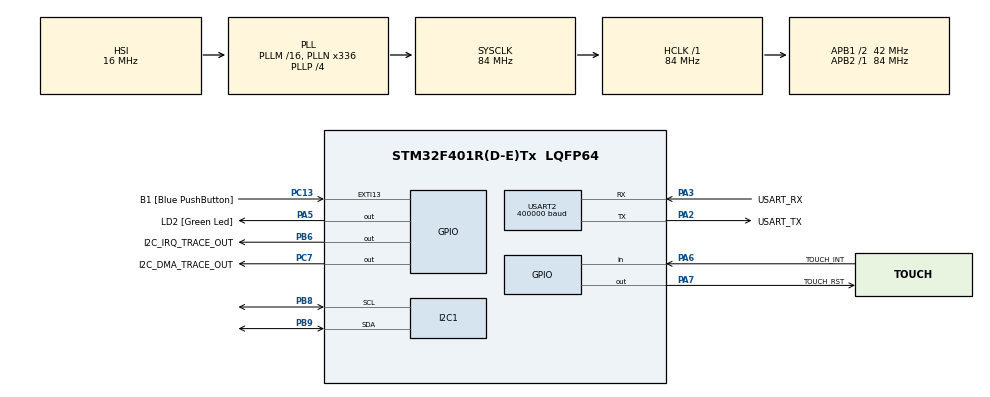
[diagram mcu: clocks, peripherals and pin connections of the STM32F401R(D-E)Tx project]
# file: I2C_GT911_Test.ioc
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Mcu.Family=STM32F4
PA2.GPIO_PuPd=GPIO_NOPULL
RCC.CortexFreq_Value=84000000
NVIC.I2C1_EV_IRQn=true\:0\:0\:false\:false\:true\:true\:true
PA14.GPIO_Label=TCK
PA3.GPIO_PuPd=GPIO_NOPULL
PA2.GPIO_Speed=GPIO_SPEED_FREQ_LOW
PA6.GPIO_Label=TOUCH_INT
PB6.GPIO_Label=I2C_IRQ_TRACE_OUT
PA3.GPIO_Speed=GPIO_SPEED_FREQ_LOW
RCC.SYSCLKSource=RCC_SYSCLKSOURCE_PLLCLK
ProjectManager.StackSize=0x400
PH0\ -\ OSC_IN.Signal=RCC_OSC_IN
RCC.HCLKFreq_Value=84000000
I2C1.DutyCycle=I2C_DUTYCYCLE_16_9
RCC.APB2TimFreq_Value=84000000
PB6.Signal=GPIO_Output
PC7.Signal=GPIO_Output
RCC.AHBFreq_Value=84000000
RCC.HSE_VALUE=8000000
PC13-ANTI_TAMP.Signal=GPXTI13
PC14-OSC32_IN.Mode=LSE-External-Oscillator
PA14.Mode=Serial_Wire
PA5.GPIO_PuPd=GPIO_NOPULL
Mcu.Package=LQFP64
PB9.Signal=I2C1_SDA
PA6.Signal=GPIO_Input
USART2.VirtualMode=VM_ASYNC
PA2.GPIO_Label=USART_TX
RCC.APB1TimFreq_Value=84000000
PA3.Signal=USART2_RX
PA2.GPIO_Mode=GPIO_MODE_AF_PP
PB3.GPIO_Label=SWO
PC15-OSC32_OUT.Mode=LSE-External-Oscillator
PC13-ANTI_TAMP.GPIO_PuPd=GPIO_NOPULL
PC13-ANTI_TAMP.GPIO_Label=B1 [Blue PushButton]
PH1\ -\ OSC_OUT.Mode=HSE-External-Clock-Source
RCC.APB1CLKDivider=RCC_HCLK_DIV2
PC14-OSC32_IN.Signal=RCC_OSC32_IN
USART2.BaudRate=400000
PA13.Signal=SYS_JTMS-SWDIO
PA3.Mode=Asynchronous
PH0\ -\ OSC_IN.Mode=HSE-External-Clock-Source
ProjectManager.TargetToolchain=STM32CubeIDE
I2C1.I2C_Mode=I2C_Fast
PA3.GPIO_Mode=GPIO_MODE_AF_PP
PB9.Mode=I2C
PC15-OSC32_OUT.Signal=RCC_OSC32_OUT
PA5.Signal=GPIO_Output
PH1\ -\ OSC_OUT.Signal=RCC_OSC_OUT
board=NUCLEO-F401RE
RCC.VCOOutputFreq_Value=336000000
RCC.APB2Freq_Value=84000000
PA13.Mode=Serial_Wire
Mcu.Name=STM32F401R(D-E)Tx
PA13.GPIO_Label=TMS
PA2.Signal=USART2_TX
PC7.GPIO_Label=I2C_DMA_TRACE_OUT
RCC.48MHZClocksFreq_Value=48000000
PB3.Signal=SYS_JTDO-SWO
RCC.SYSCLKFreq_VALUE=84000000
PA7.GPIO_Label=TOUCH_RST
PA5.GPIO_Label=LD2 [Green Led]
PC13-ANTI_TAMP.GPIO_ModeDefaultEXTI=GPIO_MODE_IT_FALLING
PA14.Signal=SYS_JTCK-SWCLK
ProjectManager.HeapSize=0x200
RCC.HSI_VALUE=16000000
RCC.PLLP=RCC_PLLP_DIV4
PA5.GPIO_Speed=GPIO_SPEED_FREQ_LOW
RCC.PLLQ=7
NVIC.PriorityGroup=NVIC_PRIORITYGROUP_0
PB8.Mode=I2C
RCC.PLLN=336
PA2.Mode=Asynchronous
PB8.Signal=I2C1_SCL
RCC.APB1Freq_Value=42000000
PA5.GPIO_Mode=GPIO_MODE_OUTPUT_PP
PA3.GPIO_Label=USART_RX
PA7.Signal=GPIO_Output

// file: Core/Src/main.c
/* USER CODE BEGIN Header */
/**
  ******************************************************************************
  * @file           : main.c
  * @brief          : Main program body
  ******************************************************************************
  * @attention
  *
  * <h2><center>&copy; Copyright (c) 2021 STMicroelectronics.
  * All rights reserved.</center></h2>
  *
  * This software component is licensed by ST under BSD 3-Clause license,
  * the "License"; You may not use this file except in compliance with the
  * License. You may obtain a copy of the License at:
  *                        opensource.org/licenses/BSD-3-Clause
  *
  ******************************************************************************
  */
/* USER CODE END Header */
#include "main.h"

/* USER CODE BEGIN PTD */
typedef struct {
	uint8_t track ;
	uint16_t x ;
	uint16_t y ;
	uint16_t size ;
	uint8_t reserved ;
} TouchPoint;
/* USER CODE END PTD */

/* USER CODE BEGIN PD */
#define GT911_I2C_ADDR					0x14
#define GT911_MAX_TP					5
#define GT911_CFG_NUMER					0x6C
#define GT911_TIMEOUT					3 // 3ms

#define GT_CTRL_REG 					0x8040
#define GT_CFGS_REG 					0x8047
#define GT_CHECK_REG 					0x80FF
#define GT_PID_REG 						0x8140

#define GT_GSTID_REG 					0x814E
#define GT_TP1_REG 						0x8150
#define GT_TP2_REG 						0x8158
#define GT_TP3_REG 						0x8160
#define GT_TP4_REG 						0x8168
#define GT_TP5_REG 						0x8170

#define GT911_READ_XY_REG               0x814E
#define GT911_CLEARBUF_REG              0x814E
#define GT911_CONFIG_REG                0x8047
#define GT911_COMMAND_REG               0x8040
#define GT911_PRODUCT_ID_REG            0x8140
#define GT911_VENDOR_ID_REG             0x814A
#define GT911_CONFIG_VERSION_REG        0x8047
#define GT911_CONFIG_CHECKSUM_REG       0x80FF
#define GT911_FIRMWARE_VERSION_REG      0x8144

#define TPRST_LOW()   HAL_GPIO_WritePin(TOUCH_RST_GPIO_Port, TOUCH_RST_Pin, GPIO_PIN_RESET)
#define TPRST_HIGH()  HAL_GPIO_WritePin(TOUCH_RST_GPIO_Port, TOUCH_RST_Pin, GPIO_PIN_SET)

#define TPINT_LOW()   HAL_GPIO_WritePin(TOUCH_INT_GPIO_Port, TOUCH_INT_Pin, GPIO_PIN_RESET)
#define TPINT_HIGH()  HAL_GPIO_WritePin(TOUCH_INT_GPIO_Port, TOUCH_INT_Pin, GPIO_PIN_SET)

//GT911 param table
const uint8_t TOUCH_GT911_Cfg[] =
{
	GT911_CFG_NUMER,// 0x8047 Config version
	0xE0,			// 0x8048 X output map : x 480
	0x01,
	0x10,			// 0x804A Y ouptut max : y 272
	0x01,
	GT911_MAX_TP,	// 0x804C Touch number
	0x3C,			// 0x804D Module switch 1 : bit4= xy change Int mode
	0x20,			// 0x804E Module switch 2
	0x22,			// 0x804F Shake_Count
	0x0A,			// 0x8050 Filter
	0x28,			// 0x8051 Larger touch
	0x0F,			// 0x8052 Noise reduction
	0x5A,			// 0x8053 Screen touch level
	0x3C,			// 0x8054 Screen touch leave
	0x03,			// 0x8055 Low power control
	0x0F,			// 0x8056 Refresh rate
	0x01,			// 0x8057 X threshold
	0x01,			// 0x8058 Y threshold
	0x00,			// 0x8059 Reserved
	0x00,			// 0x805A Reserved
	0x11,			// 0x805B Space (top, bottom)
	0x11,			// 0x805C Space (left, right)
	0x08,			// 0x805D Mini filter
	0x18,			// 0x805E Strech R0
	0x1A,			// 0x805F Strech R1
	0x1E,			// 0x8060 Strech R2
	0x14,			// 0x8061 Strech RM
	0x87,			// 0x8062 Drv groupA num
	0x29,			// 0x8063 Drv groupB num
	0x0A,			// 0x8064 Sensor num
	0xCF,			// 0x8065 FreqA factor
	0xD1,			// 0x8066 FreqB factor
	0xB2,			// 0x8067 Panel bit freq
	0x04,
	0x00,			// 0x8069 Reserved
	0x00,
	0x00,			// 0x806B Panel tx gain
	0xD8,			// 0x806C Panel rx gain
	0x02,			// 0x806D Panel dump shift
	0x1D,			// 0x806E Drv frame control
	0x00,			// 0x806F Charging level up
	0x01,			// 0x8070 Module switch 3
	0x00,			// 0x8071 Gesture distance
	0x00,			// 0x8072 Gesture long press time
	0x00,			// 0x8073 X/Y slope adjust
	0x00,			// 0x8074 Gesture control
	0x00,			// 0x8075 Gesture switch 1
	0x00,			// 0x8076 Gesture switch 2
	0x00,			// 0x8077 Gesture refresh rate
	0x00,			// 0x8078 Gesture touch level
	0x00,			// 0x8079 New green wake up level
	0xB4,			// 0x807A Freq hopping start
	0xEF,			// 0x807B Freq hopping end
	0x94,			// 0x807C Noise detect time
	0xD5,			// 0x807D Hopping flag
	0x02,			// 0x807E Hopping flag
	0x07,			// 0x807F Noise threshold
	0x00,			// 0x8080 Nois min threshold old
	0x00,			// 0x8081 Reserved
	0x04,			// 0x8082 Hopping sensor group
	0x6E,			// 0x8083 Hopping Seg1 normalize
	0xB9,			// 0x8084 Hopping Seg1 factor
	0x00,			// 0x8085 Main clock adjust
	0x6A,			// 0x8086 Hopping Seg2 normalize
	0xC4,			// 0x8087 Hopping Seg2 factor
	0x00,			// 0x8088 Reserved
	0x66,			// 0x8089 Hopping Seg3 normalize
	0xCF,			// 0x808A Hopping Seg3 factor
	0x00,			// 0x808B Reserved
	0x62,			// 0x808C Hopping Seg4 normalize
	0xDB,			// 0x808D Hopping Seg4 factor
	0x00,			// 0x808E Reserved
	0x5E,			// 0x808F Hopping Seg5 normalize
	0xE8,			// 0x8090 Hopping Seg5 factor
	0x00,			// 0x8091 Reserved
	0x5E,			// 0x8092 Hopping Seg6 normalize
	0x00,			// 0x8093 Key1
	0x00,			// 0x8094 Key2
	0x00,			// 0x8095 Key3
	0x00,			// 0x8096 Key4
	0x00,			// 0x8097 Key area
	0x00,			// 0x8098 Key touch level
	0x00,			// 0x8099 Key leave level
	0x00,			// 0x809A Key sens
	0x00,			// 0x809B Key sens
	0x00,			// 0x809C Key restrain
	0x00,			// 0x809D Key restrain time
	0x00,			// 0x809E Large gesture touch
	0x00,			// 0x809F Reserved
	0x00,			// 0x80A0 Reserved
	0x00,			// 0x80A1 Hotknot noise map
	0x00,			// 0x80A2 Link threshold
	0x00,			// 0x80A3 Pxy threshold
	0x00,			// 0x80A4 GHot dump shift
	0x00,			// 0x80A5 GHot rx gain
	0x00,			// 0x80A6 Freg gain
	0x00,			// 0x80A7 Freg gain 1
	0x00,			// 0x80A8 Freg gain 2
	0x00,			// 0x80A9 Freg gain 3
	0x00,			// 0x80AA Reserved
	0x00,			// 0x80AB Reserved
	0x00,			// 0x80AC Reserved
	0x00,			// 0x80AD Reserved
	0x00,			// 0x80AE Reserved
	0x00,			// 0x80AF Reserved
	0x00,			// 0x80B0 Reserved
	0x00,			// 0x80B1 Reserved
	0x00,			// 0x80B2 Reserved
	0x00,			// 0x80B3 Combine dis
	0x00,			// 0x80B4 Split set
	0x00,			// 0x80B5 Reserved
	0x00,			// 0x80B6 Reserved
	0x14,			// 0x80B7 Sensor CH0
	0x12,			// 0x80B8 Sensor CH1
	0x10,			// 0x80B9 Sensor CH2
	0x0E,			// 0x80BA Sensor CH3
	0x0C,			// 0x80BB Sensor CH4
	0x0A,			// 0x80BC Sensor CH5
	0x08,			// 0x80BD Sensor CH6
	0x06,			// 0x80BE Sensor CH7
	0x04,			// 0x80BF Sensor CH8
	0x02,			// 0x80C0 Sensor CH9
	0xFF,			// 0x80C1 Sensor CH10
	0xFF,			// 0x80C2 Sensor CH11
	0xFF,			// 0x80C3 Sensor CH12
	0xFF,			// 0x80C4 Sensor CH13
	0x00,			// 0x80C5 Reserved
	0x00,			// 0x80C6 Reserved
	0x00,			// 0x80C7 Reserved
	0x00,			// 0x80C8 Reserved
	0x00,			// 0x80C9 Reserved
	0x00,			// 0x80CA Reserved
	0x00,			// 0x80CB Reserved
	0x00,			// 0x80CC Reserved
	0x00,			// 0x80CD Reserved
	0x00,			// 0x80CE Reserved
	0x00,			// 0x80CF Reserved
	0x00,			// 0x80D0 Reserved
	0x00,			// 0x80D1 Reserved
	0x00,			// 0x80D2 Reserved
	0x00,			// 0x80D3 Reserved
	0x00,			// 0x80D4 Reserved
	0x28,			// 0x80D5 Driver CH0
	0x26,			// 0x80D6 Driver CH1
	0x24,			// 0x80D7 Driver CH2
	0x22,			// 0x80D8 Driver CH3
	0x21,			// 0x80D9 Driver CH4
	0x20,			// 0x80DA Driver CH5
	0x1F,			// 0x80DB Driver CH6
	0x1E,			// 0x80DC Driver CH7
	0x1D,			// 0x80DD Driver CH8
	0x0C,			// 0x80DE Driver CH9
	0x0A,			// 0x80DF Driver CH10
	0x08,			// 0x80E0 Driver CH11
	0x06,			// 0x80E1 Driver CH12
	0x04,			// 0x80E2 Driver CH13
	0x02,			// 0x80E3 Driver CH14
	0x00,			// 0x80E4 Driver CH15
	0xFF,			// 0x80E5 Driver CH16
	0xFF,			// 0x80E6 Driver CH17
	0xFF,			// 0x80E7 Driver CH18
	0xFF,			// 0x80E8 Driver CH19
	0xFF,			// 0x80E9 Driver CH20
	0xFF,			// 0x80EA Driver CH21
	0xFF,			// 0x80EB Driver CH22
	0xFF,			// 0x80EC Driver CH23
	0xFF,			// 0x80ED Driver CH24
	0xFF,			// 0x80EE Driver CH25
	0x00,			// 0x80EF Reserved
	0x00,			// 0x80F0 Reserved
	0x00,			// 0x80F1 Reserved
	0x00,			// 0x80F2 Reserved
	0x00,			// 0x80F3 Reserved
	0x00,			// 0x80F4 Reserved
	0x00,			// 0x80F5 Reserved
	0x00,			// 0x80F6 Reserved
	0x00,			// 0x80F7 Reserved
	0x00,			// 0x80F8 Reserved
	0x00,			// 0x80F9 Reserved
	0x00,			// 0x80FA Reserved
	0x00,			// 0x80FB Reserved
	0x00,			// 0x80FC Reserved
	0x00,			// 0x80FD Reserved
	0x00			// 0x80FE Reserved
};
/* USER CODE END PD */

/* USER CODE BEGIN PM */
struct TouchData {
	union
	{
		TouchPoint points[GT911_MAX_TP] ;
		uint8_t data[GT911_MAX_TP * sizeof(TouchPoint)] ;
	};
};

enum TouchEvent
{
	TE_NONE,
	TE_DOWN,
	TE_UP,
	TE_SLIDE,
	TE_SLIDE_END
};

struct TouchState
{
	unsigned char event;
	short x;
	short y;
	short startX;
	short startY;
	short deltaX;
	short deltaY;
	short lastDeltaX;
	short lastDeltaY;
};

/* USER CODE END PM */

I2C_HandleTypeDef hi2c1;

UART_HandleTypeDef huart2;

/* USER CODE BEGIN PV */
uint16_t touchGT911fwver = 0;
uint16_t touchGT911hiccups = 0;
struct TouchData touchData;
struct TouchState touchState;
const uint8_t SLIDE_RANGE = 6;
/* USER CODE END PV */

void SystemClock_Config(void);
static void MX_GPIO_Init(void);
static void MX_USART2_UART_Init(void);
static void MX_I2C1_Init(void);

/* USER CODE BEGIN 0 */

#define TRACE_TIME_FORMAT     "%0.2f "
#define TRACE_TIME_VALUE      ((float)HAL_GetTick())
#define CRLF "\r\n"

#define PRINTF_BUFFER_SIZE    128

void serialPrintf(const char * format, ...)
{
	va_list arglist;
	char tmp[PRINTF_BUFFER_SIZE + 1];

	snprintf(tmp, PRINTF_BUFFER_SIZE, "+%05lums: ", HAL_GetTick());
	va_start(arglist, format);
	vsnprintf(tmp + strlen(tmp), PRINTF_BUFFER_SIZE - strlen(tmp), format, arglist);
	tmp[PRINTF_BUFFER_SIZE] = '\0';
	va_end(arglist);

	const char *t = tmp;
	HAL_UART_Transmit(&huart2, (uint8_t *) t, strlen(t), 10);
}

#define debugPrintf(...) do { serialPrintf(__VA_ARGS__); } while(0)
#define TRACE(f_, ...)        debugPrintf((TRACE_TIME_FORMAT f_ CRLF), TRACE_TIME_VALUE, ##__VA_ARGS__)

void TOUCH_AF_INT_Change(void)
{
	GPIO_InitTypeDef GPIO_InitStructure;

	GPIO_InitStructure.Pin = TOUCH_INT_Pin;
	GPIO_InitStructure.Speed = GPIO_SPEED_HIGH;
	GPIO_InitStructure.Pull = GPIO_PULLUP;
	GPIO_InitStructure.Mode = GPIO_MODE_INPUT;
	HAL_GPIO_Init(TOUCH_INT_GPIO_Port, &GPIO_InitStructure);
}

static void TOUCH_AF_GPIOConfig(void)
{
	GPIO_InitTypeDef GPIO_InitStructure;
	GPIO_InitStructure.Pin = TOUCH_RST_Pin;
	GPIO_InitStructure.Mode = GPIO_MODE_OUTPUT_PP;
	GPIO_InitStructure.Speed = GPIO_SPEED_HIGH;
	GPIO_InitStructure.Pull = GPIO_NOPULL;
	HAL_GPIO_Init(TOUCH_RST_GPIO_Port, &GPIO_InitStructure);

	HAL_GPIO_WritePin(TOUCH_RST_GPIO_Port, TOUCH_RST_Pin, GPIO_PIN_RESET);

	GPIO_InitStructure.Pin = TOUCH_INT_Pin;
	GPIO_InitStructure.Mode = GPIO_MODE_OUTPUT_PP;
	GPIO_InitStructure.Speed = GPIO_SPEED_HIGH;
	GPIO_InitStructure.Pull = GPIO_NOPULL;
	HAL_GPIO_Init(TOUCH_INT_GPIO_Port, &GPIO_InitStructure);

	HAL_GPIO_WritePin(TOUCH_INT_GPIO_Port, TOUCH_INT_Pin, GPIO_PIN_RESET);
}

bool I2C_GT911_ReadRegister(uint16_t reg, uint8_t * buf, uint8_t len)
{
	uint8_t uRegAddr[2];
	uRegAddr[0] = (uint8_t)((reg & 0xFF00) >> 8);
	uRegAddr[1] = (uint8_t)(reg & 0x00FF);

	if (HAL_I2C_Master_Transmit(&hi2c1, GT911_I2C_ADDR << 1, uRegAddr, 2, 10000) != HAL_OK)
	{
		TRACE("I2C ERROR: ReadRedister write reg address failed");
		asm("bkpt 255");
		return false;
	}

	if (HAL_I2C_Master_Receive(&hi2c1, GT911_I2C_ADDR << 1, buf, len, 10000) != HAL_OK)
	{
		TRACE("I2C ERROR: ReadRedister read reg address failed");
		asm("bkpt 255");
		return false;
	}
	return true;
}

uint8_t I2C_GT911_WriteRegister(uint16_t reg, uint8_t * buf, uint8_t len)
{
	uint8_t uAddrAndBuf[258];
	uAddrAndBuf[0] = (uint8_t)((reg & 0xFF00) >> 8);
	uAddrAndBuf[1] = (uint8_t)(reg & 0x00FF);

	if (len > 0)
	{
		for (int i = 0;i < len;i++)
		{
			uAddrAndBuf[i + 2] = buf[i];
		}
	}

	if (HAL_I2C_Master_Transmit(&hi2c1, GT911_I2C_ADDR << 1, uAddrAndBuf, len + 2, 10000) != HAL_OK)
	{
		TRACE("I2C ERROR: WriteRegister failed");
		asm("bkpt 255");
		return false;
	}
	return true;
}

bool I2C_GT911_SendConfig(void)
{
	uint8_t buf[2];
	uint8_t i = 0;
	buf[0] = 0;
	buf[1] = 1;
	bool bResult = true;

	for (i = 0; i < sizeof(TOUCH_GT911_Cfg); i++)
		buf[0] += TOUCH_GT911_Cfg[i];//check sum

	buf[0] = (~buf[0]) + 1;
	if (!I2C_GT911_WriteRegister(GT_CFGS_REG, (uint8_t *) TOUCH_GT911_Cfg, sizeof(TOUCH_GT911_Cfg)))
	{
		TRACE("GT911 ERROR: write config failed");
		bResult = false;
	}

	if (!I2C_GT911_WriteRegister(GT_CHECK_REG, buf, 2)) //write checksum
		{
			TRACE("GT911 ERROR: write config checksum failed");
			bResult = false;
		}
	return bResult;
}

bool touchPanelInit(void)
{
	uint8_t tmp[4] = { 0 };

	TRACE("Touchpanel init start ...");

	TOUCH_AF_GPIOConfig(); //SET RST=OUT INT=OUT INT=LOW
	//I2C_Init();

	TPRST_LOW();
	TPINT_HIGH();
	HAL_Delay(1);

	TPRST_HIGH();
	HAL_Delay(6);

	TPINT_LOW();
	HAL_Delay(55);

	TOUCH_AF_INT_Change();  //Set INT INPUT INT=LOW

	HAL_Delay(50);

	TRACE("Reading Touch registry");
	if (!I2C_GT911_ReadRegister(GT_PID_REG, tmp, 4))
	{
		TRACE("GT911 ERROR: Product ID read failed");
	}

	if (strcmp((char *) tmp, "911") == 0)
	{
		TRACE("GT911 chip detected");
		tmp[0] = 0X02;
		if (!I2C_GT911_WriteRegister(GT_CTRL_REG, tmp, 1))
		{
			TRACE("GT911 ERROR: write to control register failed");
		}
		if (!I2C_GT911_ReadRegister(GT_CFGS_REG, tmp, 1))
		{
			TRACE("GT911 ERROR: configuration register read failed");
		}

		TRACE("Chip config Ver:%x", tmp[0]);
		if (tmp[0] <= GT911_CFG_NUMER)  //Config ver
		{
			TRACE("Sending new config %d", GT911_CFG_NUMER);
			if (!I2C_GT911_SendConfig())
			{
				TRACE("GT911 ERROR: sending configration failed");
			}
		}

		if (!I2C_GT911_ReadRegister(GT911_FIRMWARE_VERSION_REG, tmp, 2))
		{
			TRACE("GT911 ERROR: reading firmware version failed");
		}
		else
		{
			touchGT911fwver = (tmp[1] << 8) + tmp[0];
			TRACE("GT911 FW version: %u", touchGT911fwver);
		}

		HAL_Delay(10);
		tmp[0] = 0X00;
		if (!I2C_GT911_WriteRegister(GT_CTRL_REG, tmp, 1))  //end reset
		{
			TRACE("GT911 ERROR: write to control register failed");
		}
		// touchGT911Flag = true;

		//TOUCH_AF_ExtiConfig();

		return true;
	}
	TRACE("GT911 chip NOT FOUND");
	return false;
}

void touchPanelDeInit(void)
{
	//TOUCH_AF_ExtiStop();
	//touchGT911Flag = false;
	TRACE("touchPanelDeInit()");
	asm("bkpt 255");
}

void touchPanelRead()
{
	uint8_t state = 0;

	// if (!touchEventOccured)
	//   return;

	// touchEventOccured = false;

	uint32_t startReadStatus = HAL_GetTick();
	do {
		if (!I2C_GT911_ReadRegister(GT911_READ_XY_REG, &state, 1)) {
			HAL_GPIO_WritePin(LD2_GPIO_Port, LD2_Pin, GPIO_PIN_SET);
			touchGT911hiccups++;
			TRACE("GT911 I2C read XY error");
			touchPanelDeInit();
			touchPanelInit();
			return;
		}

		if (state & 0x80u) {
			// ready
			break;
		}
		HAL_Delay(1);
	} while (HAL_GetTick() - startReadStatus < GT911_TIMEOUT);

	TRACE("touch state = 0x%x", state);
	if (state & 0x80u) {
		uint8_t pointsCount = (state & 0x0Fu);

		if (pointsCount > 0 && pointsCount <= GT911_MAX_TP) {
			if (!I2C_GT911_ReadRegister(GT911_READ_XY_REG + 1, touchData.data, pointsCount * sizeof(TouchPoint)))
			{
				HAL_GPIO_WritePin(LD2_GPIO_Port, LD2_Pin, GPIO_PIN_SET);
				touchGT911hiccups++;
				TRACE("GT911 I2C data read error");
				touchPanelDeInit();
				touchPanelInit();
				return;
			}
			if (touchState.event == TE_NONE || touchState.event == TE_UP || touchState.event == TE_SLIDE_END)
			{
				touchState.event = TE_DOWN;
				touchState.startX = touchState.x = touchData.points[0].x;
				touchState.startY = touchState.y = touchData.points[0].y;
			}
			else
			{
				touchState.deltaX = touchData.points[0].x - touchState.x;
				touchState.deltaY = touchData.points[0].y - touchState.y;
				if (touchState.event == TE_SLIDE || abs(touchState.deltaX) >= SLIDE_RANGE || abs(touchState.deltaY) >= SLIDE_RANGE)
				{
					touchState.event = TE_SLIDE;
					touchState.x = touchData.points[0].x;
					touchState.y = touchData.points[0].y;
				}
			}
		}
		else
		{
			if (touchState.event == TE_SLIDE)
			{
				touchState.event = TE_SLIDE_END;
			}
			else if (touchState.event == TE_DOWN)
			{
				touchState.event = TE_UP;
			}
			else if (touchState.event != TE_SLIDE_END) {
				touchState.event = TE_NONE;
			}
		}
	}

	uint8_t zero = 0;
	if (!I2C_GT911_WriteRegister(GT911_READ_XY_REG, &zero, 1))
	{
		TRACE("GT911 ERROR: clearing XY register failed");
	}

	switch (touchState.event) {
		case TE_NONE:
			TRACE("touch event = NONE"); break;
		case TE_UP:
			TRACE("touch event = UP"); break;
		case TE_DOWN:
			TRACE("touch event = DOWN"); break;
		case TE_SLIDE_END:
			TRACE("touch event = SLIDE_END"); break;
		case TE_SLIDE:
			TRACE("touch event = SLIDE"); break;
		default:
			TRACE("touch event = UNKNOWN"); break;
	}
}

/* USER CODE END 0 */

int main(void)
{

  /* MCU Configuration--------------------------------------------------------*/

  /* Reset of all peripherals, Initializes the Flash interface and the Systick. */
  HAL_Init();

  /* Configure the system clock */
  SystemClock_Config();

  /* Initialize all configured peripherals */
  MX_GPIO_Init();
  MX_USART2_UART_Init();
  MX_I2C1_Init();
  /* USER CODE BEGIN 2 */
  if (!touchPanelInit())
  {
	  TRACE("ERROR: touchPanelInit() failed");
	  asm("bkpt 255");
  }

  /* USER CODE END 2 */

  /* Infinite loop */
  while (1)
  {

    /* USER CODE BEGIN 3 */
	if (HAL_GPIO_ReadPin(TOUCH_INT_GPIO_Port, TOUCH_INT_Pin) == GPIO_PIN_SET)
	{
		touchPanelRead();
	}
	HAL_Delay(10);

  }
  /* USER CODE END 3 */
}

void SystemClock_Config(void)
{
  RCC_OscInitTypeDef RCC_OscInitStruct = {0};
  RCC_ClkInitTypeDef RCC_ClkInitStruct = {0};

  /** Configure the main internal regulator output voltage
  */
  __HAL_RCC_PWR_CLK_ENABLE();
  __HAL_PWR_VOLTAGESCALING_CONFIG(PWR_REGULATOR_VOLTAGE_SCALE2);
  /** Initializes the RCC Oscillators according to the specified parameters
  * in the RCC_OscInitTypeDef structure.
  */
  RCC_OscInitStruct.OscillatorType = RCC_OSCILLATORTYPE_HSI;
  RCC_OscInitStruct.HSIState = RCC_HSI_ON;
  RCC_OscInitStruct.HSICalibrationValue = RCC_HSICALIBRATION_DEFAULT;
  RCC_OscInitStruct.PLL.PLLState = RCC_PLL_ON;
  RCC_OscInitStruct.PLL.PLLSource = RCC_PLLSOURCE_HSI;
  RCC_OscInitStruct.PLL.PLLM = 16;
  RCC_OscInitStruct.PLL.PLLN = 336;
  RCC_OscInitStruct.PLL.PLLP = RCC_PLLP_DIV4;
  RCC_OscInitStruct.PLL.PLLQ = 7;
  if (HAL_RCC_OscConfig(&RCC_OscInitStruct) != HAL_OK)
  {
    Error_Handler();
  }
  /** Initializes the CPU, AHB and APB buses clocks
  */
  RCC_ClkInitStruct.ClockType = RCC_CLOCKTYPE_HCLK|RCC_CLOCKTYPE_SYSCLK
                              |RCC_CLOCKTYPE_PCLK1|RCC_CLOCKTYPE_PCLK2;
  RCC_ClkInitStruct.SYSCLKSource = RCC_SYSCLKSOURCE_PLLCLK;
  RCC_ClkInitStruct.AHBCLKDivider = RCC_SYSCLK_DIV1;
  RCC_ClkInitStruct.APB1CLKDivider = RCC_HCLK_DIV2;
  RCC_ClkInitStruct.APB2CLKDivider = RCC_HCLK_DIV1;

  if (HAL_RCC_ClockConfig(&RCC_ClkInitStruct, FLASH_LATENCY_2) != HAL_OK)
  {
    Error_Handler();
  }
}

static void MX_I2C1_Init(void)
{

  hi2c1.Instance = I2C1;
  hi2c1.Init.ClockSpeed = 400000;
  hi2c1.Init.DutyCycle = I2C_DUTYCYCLE_16_9;
  hi2c1.Init.OwnAddress1 = 0;
  hi2c1.Init.AddressingMode = I2C_ADDRESSINGMODE_7BIT;
  hi2c1.Init.DualAddressMode = I2C_DUALADDRESS_DISABLE;
  hi2c1.Init.OwnAddress2 = 0;
  hi2c1.Init.GeneralCallMode = I2C_GENERALCALL_DISABLE;
  hi2c1.Init.NoStretchMode = I2C_NOSTRETCH_DISABLE;
  if (HAL_I2C_Init(&hi2c1) != HAL_OK)
  {
    Error_Handler();
  }

}

static void MX_USART2_UART_Init(void)
{

  huart2.Instance = USART2;
  huart2.Init.BaudRate = 400000;
  huart2.Init.WordLength = UART_WORDLENGTH_8B;
  huart2.Init.StopBits = UART_STOPBITS_1;
  huart2.Init.Parity = UART_PARITY_NONE;
  huart2.Init.Mode = UART_MODE_TX_RX;
  huart2.Init.HwFlowCtl = UART_HWCONTROL_NONE;
  huart2.Init.OverSampling = UART_OVERSAMPLING_16;
  if (HAL_UART_Init(&huart2) != HAL_OK)
  {
    Error_Handler();
  }

}

static void MX_GPIO_Init(void)
{
  GPIO_InitTypeDef GPIO_InitStruct = {0};

  /* GPIO Ports Clock Enable */
  __HAL_RCC_GPIOC_CLK_ENABLE();
  __HAL_RCC_GPIOH_CLK_ENABLE();
  __HAL_RCC_GPIOA_CLK_ENABLE();
  __HAL_RCC_GPIOB_CLK_ENABLE();

  /*Configure GPIO pin Output Level */
  HAL_GPIO_WritePin(GPIOA, LD2_Pin|TOUCH_RST_Pin, GPIO_PIN_RESET);

  /*Configure GPIO pin Output Level */
  HAL_GPIO_WritePin(I2C_DMA_TRACE_OUT_GPIO_Port, I2C_DMA_TRACE_OUT_Pin, GPIO_PIN_RESET);

  /*Configure GPIO pin Output Level */
  HAL_GPIO_WritePin(I2C_IRQ_TRACE_OUT_GPIO_Port, I2C_IRQ_TRACE_OUT_Pin, GPIO_PIN_RESET);

  /*Configure GPIO pin : B1_Pin */
  GPIO_InitStruct.Pin = B1_Pin;
  GPIO_InitStruct.Mode = GPIO_MODE_IT_FALLING;
  GPIO_InitStruct.Pull = GPIO_NOPULL;
  HAL_GPIO_Init(B1_GPIO_Port, &GPIO_InitStruct);

  /*Configure GPIO pins : LD2_Pin TOUCH_RST_Pin */
  GPIO_InitStruct.Pin = LD2_Pin|TOUCH_RST_Pin;
  GPIO_InitStruct.Mode = GPIO_MODE_OUTPUT_PP;
  GPIO_InitStruct.Pull = GPIO_NOPULL;
  GPIO_InitStruct.Speed = GPIO_SPEED_FREQ_LOW;
  HAL_GPIO_Init(GPIOA, &GPIO_InitStruct);

  /*Configure GPIO pin : TOUCH_INT_Pin */
  GPIO_InitStruct.Pin = TOUCH_INT_Pin;
  GPIO_InitStruct.Mode = GPIO_MODE_INPUT;
  GPIO_InitStruct.Pull = GPIO_NOPULL;
  HAL_GPIO_Init(TOUCH_INT_GPIO_Port, &GPIO_InitStruct);

  /*Configure GPIO pin : I2C_DMA_TRACE_OUT_Pin */
  GPIO_InitStruct.Pin = I2C_DMA_TRACE_OUT_Pin;
  GPIO_InitStruct.Mode = GPIO_MODE_OUTPUT_PP;
  GPIO_InitStruct.Pull = GPIO_NOPULL;
  GPIO_InitStruct.Speed = GPIO_SPEED_FREQ_LOW;
  HAL_GPIO_Init(I2C_DMA_TRACE_OUT_GPIO_Port, &GPIO_InitStruct);

  /*Configure GPIO pin : I2C_IRQ_TRACE_OUT_Pin */
  GPIO_InitStruct.Pin = I2C_IRQ_TRACE_OUT_Pin;
  GPIO_InitStruct.Mode = GPIO_MODE_OUTPUT_PP;
  GPIO_InitStruct.Pull = GPIO_NOPULL;
  GPIO_InitStruct.Speed = GPIO_SPEED_FREQ_LOW;
  HAL_GPIO_Init(I2C_IRQ_TRACE_OUT_GPIO_Port, &GPIO_InitStruct);
}

void Error_Handler(void)
{
  __disable_irq();
  while (1)
  {
  }
}

/************************ (C) COPYRIGHT STMicroelectronics *****END OF FILE****/
